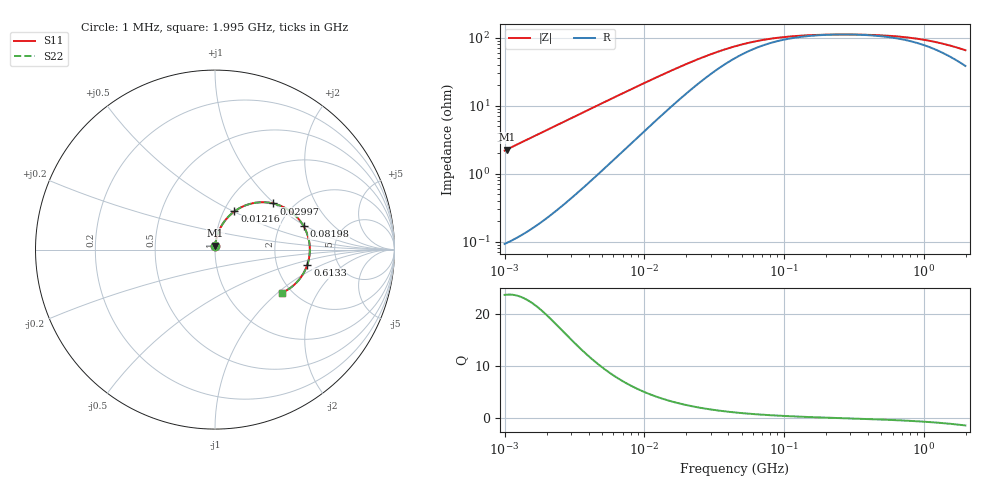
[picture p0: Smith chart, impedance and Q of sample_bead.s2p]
! Synthetic sample for emi-compass article 3.
! A nominal '100 ohm @ 100 MHz' ferrite bead as a series
! element, written from the equivalent-circuit model -- NOT a
! real vendor measurement. For trying the read-in flow only.
# Hz S MA R 50
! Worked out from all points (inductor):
!   220 points, 1 MHz to 1.995 GHz, reference 50 ohm
!   read as one part in series: L = 350 nH near 1.035 MHz
!   highest Q = 23.6 at 1.035 MHz (marker M1), where L = 350 nH
!   self-resonance near 268.9 MHz
!   S11 on the Smith chart (normalised r, x): 1 MHz: 1.00, +0.04; 12.16 MHz: 1.12, +0.51; 29.97 MHz: 1.59, +0.99; 81.98 MHz: 2.70, +0.96; 613.3 MHz: 3.00, -0.70; 1.995 GHz: 1.77, -1.06
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1000000  0.02198 86.3  0.9988 -1.3  0.9988 -1.3  0.02198 86.3
1035305  0.02275 86.3  0.9988 -1.3  0.9988 -1.3  0.02275 86.3
2072232  0.04541 84.4  0.9966 -2.6  0.9966 -2.6  0.04541 84.4
3610225  0.07852 81.1  0.9909 -4.5  0.9909 -4.5  0.07852 81.1
7226102  0.1523 73.1  0.9667 -8.7  0.9667 -8.7  0.1523 73.1
9537884  0.1952 68.2  0.945 -11.1  0.945 -11.1  0.1952 68.2
1.215994e7  0.239 63.0  0.9166 -13.4  0.9166 -13.4  0.239 63.0
1.303372e7  0.2524 61.4  0.9065 -14.1  0.9065 -14.1  0.2524 61.4
2.046251e7  0.3437 49.4  0.8188 -18.6  0.8188 -18.6  0.3437 49.4
2.997177e7  0.4143 38.3  0.7223 -20.8  0.7223 -20.8  0.4143 38.3
4.545004e7  0.47 27.2  0.6201 -20.2  0.6201 -20.2  0.47 27.2
5.999046e7  0.4938 20.8  0.5663 -18.1  0.5663 -18.1  0.4938 20.8
8.197825e7  0.5107 14.9  0.5231 -14.5  0.5231 -14.5  0.5107 14.9
1.12025e8  0.5203 10.0  0.496 -10.5  0.496 -10.5  0.5203 10.0
1.640849e8  0.5262 5.2  0.4784 -5.8  0.4784 -5.8  0.5262 5.2
3.172268e8  0.5282 -1.7  0.4723 1.9  0.4723 1.9  0.5282 -1.7
5.721821e8  0.5227 -8.4  0.4889 9.0  0.4889 9.0  0.5227 -8.4
6.132976e8  0.5214 -9.3  0.4928 9.9  0.4928 9.9  0.5214 -9.3
8.676732e8  0.5114 -14.6  0.5213 14.3  0.5213 14.3  0.5114 -14.6
1.14526e9  0.4973 -19.8  0.5579 17.5  0.5579 17.5  0.4973 -19.8
1.511653e9  0.4753 -25.9  0.6091 19.9  0.6091 19.9  0.4753 -25.9
1.995262e9  0.443 -33.0  0.6735 21.0  0.6735 21.0  0.443 -33.0
